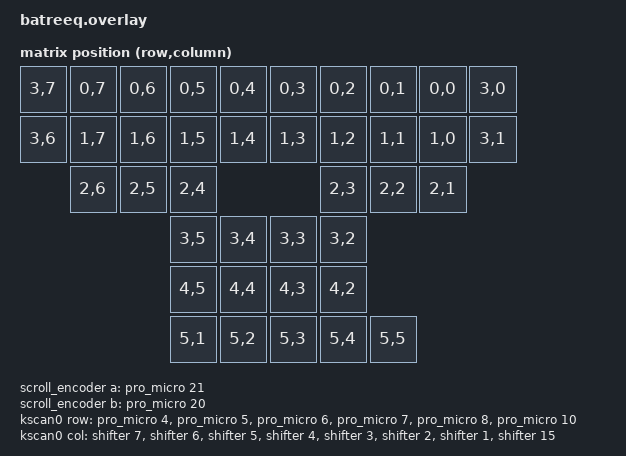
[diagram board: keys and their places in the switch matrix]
/*
 * Copyright (c) 2021 The ZMK Contributors
 *
 * SPDX-License-Identifier: MIT
 */

#include <dt-bindings/zmk/matrix_transform.h>
// #include "vik_connector.dtsi"

&pro_micro_spi { 
    status = "okay";
	cs-gpios = <&pro_micro 9 GPIO_ACTIVE_LOW>;
	shifter: 595@0 {
		compatible = "zmk,gpio-595";
		status = "okay";
		gpio-controller;
		spi-max-frequency = <200000>;
		reg = <0>;
		#gpio-cells = <2>;
		ngpios = <8>;
	};
};

/{
    scroll_encoder: encoder_sc {
        compatible = "alps,ec11";
        a-gpios = <&pro_micro 21 (GPIO_ACTIVE_HIGH | GPIO_PULL_UP)>;
        b-gpios = <&pro_micro 20 (GPIO_ACTIVE_HIGH | GPIO_PULL_UP)>;
        steps = <15>;
        status = "disabled";
    };

    sensors: sensors {
        compatible = "zmk,keymap-sensors";
        sensors = <&scroll_encoder>;
        triggers-per-rotation = <15>;
    };
};

&scroll_encoder {
    status = "okay";
};

/{
    cirque_input_listener: cirque_input_listener {
        compatible = "zmk,input-listener";
        device = <&cirque>;                         /* Must be a phandle for your pinnacle@X node */
        y-invert;                                   /* Depends upon the Cirque's orientation */
    };
};

&pro_micro_spi {                                    /* You can use &pro_micro_spi or &spi# here */
    status = "okay";
    cs-gpios = <&pro_micro 0 GPIO_ACTIVE_LOW>;

    cirque: pinnacle@0 {
        compatible = "cirque,pinnacle";
        reg = <0>;                                   /* This matches the X in pinnacle@X */
        spi-max-frequency = <8000000>;               /* Maximum speed for spi0-2 is 8MHz on nRF52, may be different on your MCU */
        dr-gpios = <&pro_micro 1 GPIO_ACTIVE_HIGH>; /* REQUIRED. You can use &pro_micro or &gpio# here. */
        sensitivity = "1x";                          /* No more than 2x if you have the thick curved overlay! */
    };
};
/ {
    chosen {
        zmk,kscan = &kscan0;
        zmk,matrix_transform = &default_transform;
    };

    default_transform: keymap_transform_0 {
        compatible = "zmk,matrix-transform";
        columns = <8>;
        rows = <5>;
        map = <
        RC(3,7) RC(0,7) RC(0,6) RC(0,5) RC(0,4)   RC(0,3) RC(0,2) RC(0,1) RC(0,0) RC(3,0)
        RC(3,6) RC(1,7) RC(1,6) RC(1,5) RC(1,4)   RC(1,3) RC(1,2) RC(1,1) RC(1,0) RC(3,1)
                RC(2,6) RC(2,5) RC(2,4)                   RC(2,3) RC(2,2) RC(2,1)
                                RC(3,5) RC(3,4)   RC(3,3) RC(3,2)
                                RC(4,5) RC(4,4)   RC(4,3) RC(4,2)
                                RC(5,1) RC(5,2) RC(5,3) RC(5,4) RC(5,5)
                                             
                                                                          

        >;
    };

    kscan0: kscan_0 {
        compatible = "zmk,kscan-gpio-matrix";
        label = "KSCAN";
        diode-direction = "col2row";

        col-gpios
            = <&shifter 7  GPIO_ACTIVE_HIGH> 
            , <&shifter 6 GPIO_ACTIVE_HIGH>
            , <&shifter 5  GPIO_ACTIVE_HIGH>
            , <&shifter 4  GPIO_ACTIVE_HIGH>
            , <&shifter 3  GPIO_ACTIVE_HIGH>
            , <&shifter 2 GPIO_ACTIVE_HIGH>
            , <&shifter 1 GPIO_ACTIVE_HIGH>
            , <&shifter 15 GPIO_ACTIVE_HIGH>
            ;

        row-gpios
            = <&pro_micro 4 (GPIO_ACTIVE_HIGH | GPIO_PULL_DOWN)>
            , <&pro_micro 5 (GPIO_ACTIVE_HIGH | GPIO_PULL_DOWN)>
            , <&pro_micro 6 (GPIO_ACTIVE_HIGH | GPIO_PULL_DOWN)>
            , <&pro_micro 7 (GPIO_ACTIVE_HIGH | GPIO_PULL_DOWN)>
            , <&pro_micro 8  (GPIO_ACTIVE_HIGH | GPIO_PULL_DOWN)>
            , <&pro_micro 10 (GPIO_ACTIVE_HIGH | GPIO_PULL_DOWN)>
            ;
    };

};
